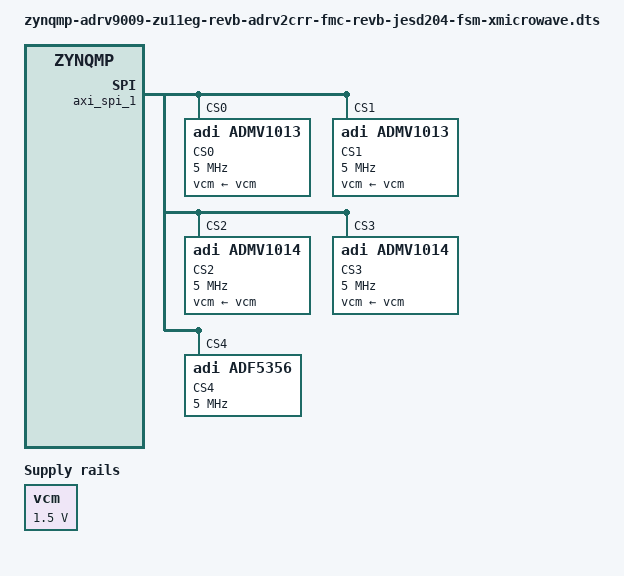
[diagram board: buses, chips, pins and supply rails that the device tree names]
// SPDX-License-Identifier: GPL-2.0
/*
 * ADRV2CRR-FMC using ADRV9009-ZU11EG Rev.B System on Module
 *
 * https://wiki.analog.com/resources/eval/user-guides/adrv9009
 * https://wiki.analog.com/resources/tools-software/linux-drivers/iio-transceiver/adrv9009
 * https://wiki.analog.com/resources/tools-software/linux-software/adrv9009_advanced_plugin
 * https://wiki.analog.com/resources/eval/user-guides/adrv9009-zu11eg/adrv2crr-fmc_carrier_board
 *
 * hdl_project: <adrv9009zu11eg/adrv2crr_fmc>
 * board_revision: <B>
 *
 * Copyright (C) 2019 Analog Devices Inc.
 */

#include "zynqmp-adrv9009-zu11eg-revb-adrv2crr-fmc-revb.dts"
#include <dt-bindings/iio/frequency/hmc7044.h>
#include <dt-bindings/iio/adc/adi,adrv9009.h>

/ {
	adf5356_clkin: clock@0 {
		compatible = "fixed-clock";

		clock-frequency = <100000000>;
		clock-output-names = "refclk";
		#clock-cells = <0>;
	};

	vcm: fixedregulator@0 {
		compatible = "regulator-fixed";
		regulator-name = "vcm";
		regulator-min-microvolt = <1500000>;
		regulator-max-microvolt = <1500000>;
		regulator-boot-on;
	};
};

&trx0_adrv9009 {
	jesd204-device;
	#jesd204-cells = <2>;
	jesd204-top-device = <0>; /* This is the TOP device */
	jesd204-link-ids = <DEFRAMER_LINK_TX FRAMER_LINK_RX FRAMER_LINK_ORX>;

	jesd204-inputs =
		<&trx1_adrv9009 0 FRAMER_LINK_RX>,
		<&trx1_adrv9009 0 FRAMER_LINK_ORX>,
		<&trx1_adrv9009 0 DEFRAMER_LINK_TX>;

	/delete-property/ interrupts;
	adi,jesd204-framer-a-lmfc-offset = <15>;
};

&trx1_adrv9009 {
	jesd204-device;
	#jesd204-cells = <2>;
	jesd204-inputs =
                <&axi_adrv9009_rx_jesd 0 FRAMER_LINK_RX>,
		<&axi_adrv9009_rx_os_jesd 0 FRAMER_LINK_ORX>,
		<&axi_adrv9009_core_tx 0 DEFRAMER_LINK_TX>;

	/delete-property/ interrupts;
	adi,jesd204-framer-a-lmfc-offset = <15>;
};

&axi_adrv9009_core_tx {
	jesd204-device;
	#jesd204-cells = <2>;
	jesd204-inputs = <&axi_adrv9009_tx_jesd 0 DEFRAMER_LINK_TX>;
};

&axi_adrv9009_rx_jesd {
	jesd204-device;
	#jesd204-cells = <2>;
	jesd204-inputs = <&axi_adrv9009_adxcvr_rx 0 FRAMER_LINK_RX>;
	clocks = <&zynqmp_clk 71>, <&hmc7044 7>, <&axi_adrv9009_adxcvr_rx 0>;
	clock-names = "s_axi_aclk", "device_clk", "lane_clk";
};

&axi_adrv9009_rx_os_jesd {
	jesd204-device;
	#jesd204-cells = <2>;
	jesd204-inputs = <&axi_adrv9009_adxcvr_rx_os 0 FRAMER_LINK_ORX>;
	clocks = <&zynqmp_clk 71>, <&hmc7044 6>, <&axi_adrv9009_adxcvr_rx_os 0>;
	clock-names = "s_axi_aclk", "device_clk", "lane_clk";
};

&axi_adrv9009_tx_jesd {
	jesd204-device;
	#jesd204-cells = <2>;
	jesd204-inputs = <&axi_adrv9009_adxcvr_tx 0 DEFRAMER_LINK_TX>;
	clocks = <&zynqmp_clk 71>, <&hmc7044 6>, <&axi_adrv9009_adxcvr_tx 0>;
	clock-names = "s_axi_aclk", "device_clk", "lane_clk";
};

&axi_adrv9009_adxcvr_rx {
	jesd204-device;
	#jesd204-cells = <2>;
	jesd204-inputs =  <&hmc7044 0 FRAMER_LINK_RX>;
	clock-names = "conv";
	clocks = <&hmc7044 5>;
};

&axi_adrv9009_adxcvr_rx_os {
	jesd204-device;
	#jesd204-cells = <2>;
	jesd204-inputs =  <&hmc7044 0 FRAMER_LINK_ORX>;
	clock-names = "conv";
	clocks = <&hmc7044 4>;
};

&axi_adrv9009_adxcvr_tx {
	jesd204-device;
	#jesd204-cells = <2>;
	jesd204-inputs =  <&hmc7044 0 DEFRAMER_LINK_TX>;
	clock-names = "conv";
	clocks = <&hmc7044 4>;
};

&hmc7044 {
	jesd204-device;
	#jesd204-cells = <2>;
	jesd204-inputs = <&hmc7044_car 0 FRAMER_LINK_RX>,
		<&hmc7044_car 0 FRAMER_LINK_ORX>,
		<&hmc7044_car 0 DEFRAMER_LINK_TX>;

	adi,pulse-generator-mode = <HMC7044_PULSE_GEN_16_PULSE>;
	adi,sync-pin-mode = <1>;

	/delete-property/ adi,pll2-autocal-bypass-manual-cap-bank-sel;
	adi,hmc-two-level-tree-sync-en;
};

&hmc7044_car {
	jesd204-device;
	#jesd204-cells = <2>;
	jesd204-sysref-provider;

	adi,pulse-generator-mode = <HMC7044_PULSE_GEN_16_PULSE>;
	adi,sync-pin-mode = <0>;

	/delete-property/ adi,pll2-autocal-bypass-manual-cap-bank-sel;
	adi,hmc-two-level-tree-sync-en;
};

&fpga_axi {
	axi_spi_1: spi@84000000 {
		#address-cells = <1>;
		#size-cells = <0>;
		bits-per-word = <8>;
		compatible = "xlnx,xps-spi-2.00.a";
		reg = <0x0 0x84000000 0x1000>;
		fifo-size = <16>;
		interrupts = <0 92 IRQ_TYPE_EDGE_RISING>;
		num-cs = <0x8>;
		xlnx,num-ss-bits = <0x8>;
		xlnx,spi-mode = <0>;
	};
};

&axi_spi_1 {
	admv1013_a@0 {
		label = "CS0";
		compatible = "adi,admv1013";
		reg = <0>;
		spi-max-frequency = <5000000>;
		clocks = <&lo_adf5356>;
		clock-names = "lo_in";
		clock-scales = <1 8>;
		vcm-supply = <&vcm>;
		adi,parity-en;
		adi,quad-se-mode = <9>;
		adi,mixer-if-en;
		adi,det-en;
	};

	admv1013_b@1 {
		label = "CS1";
		compatible = "adi,admv1013";
		reg = <1>;
		spi-max-frequency = <5000000>;
		clocks = <&lo_adf5356>;
		clock-names = "lo_in";
		clock-scales = <1 8>;
		vcm-supply = <&vcm>;
		adi,quad-se-mode = <9>;
		adi,parity-en;
		adi,mixer-if-en;
		adi,det-en;
	};

	admv1014_a@2 {
		label = "CS2";
		compatible = "adi,admv1014";
		reg = <2>;
		spi-max-frequency = <5000000>;
		clocks = <&lo_adf5356>;
		clock-names = "lo_in";
		clock-scales = <1 8>;
		vcm-supply = <&vcm>;
		adi,quad-se-mode = <6>;
		adi,p1db-comp = <3>;
		adi,det-prog = <4>;
		adi,parity-en;
		adi,bb-amp-gain-ctrl = <0>;
	};

	admv1014_b@3 {
		label = "CS3";
		compatible = "adi,admv1014";
		reg = <3>;
		spi-max-frequency = <5000000>;
		clocks = <&lo_adf5356>;
		clock-names = "lo_in";
		clock-scales = <1 8>;
		vcm-supply = <&vcm>;
		adi,quad-se-mode = <6>;
		adi,p1db-comp = <3>;
		adi,det-prog = <4>;
		adi,parity-en;
		adi,bb-amp-gain-ctrl = <0>;
	};

	lo_adf5356: adf5356@4 {
		label = "CS4";
		#clock-cells = <0>;
		compatible = "adi,adf5356";
		reg = <4>;
		spi-max-frequency = <5000000>;
		clocks = <&adf5356_clkin>;
		clock-names = "clkin";
		clock-output-names = "ADF5356";
		adi,charge-pump-current = <900>;
		adi,muxout-select = <6>;
		adi,muxout-level-3v3-enable;
		adi,mute-till-lock-enable;
		adi,output-a-power = <3>;
		adi,output-b-power = <0>;
		adi,charge-pump-negative-bleed-enable;
		adi,power-up-frequency = /bits/ 64 <6800000000>;
		adi,output-b-enable;
		adi,clock-shift = <2>;
		adi,reference-doubler-enable;
	};
};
